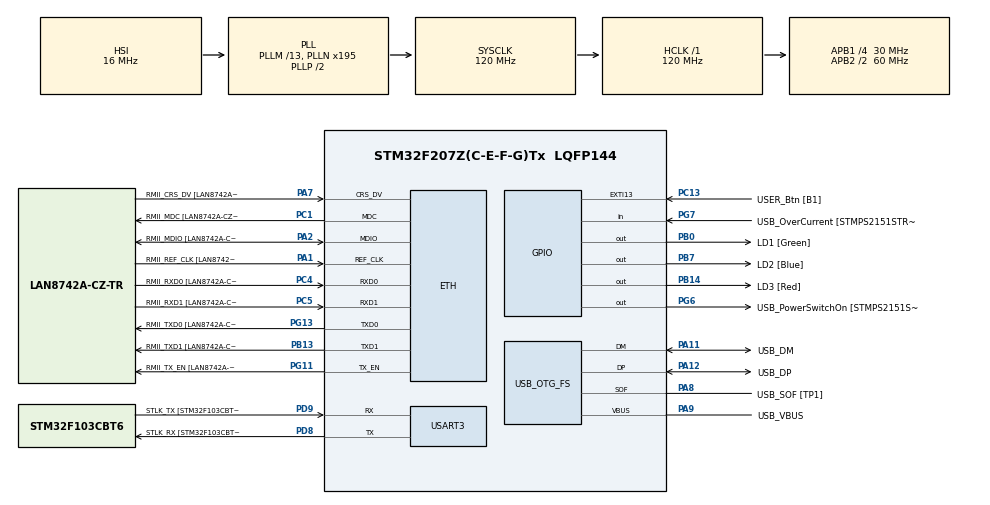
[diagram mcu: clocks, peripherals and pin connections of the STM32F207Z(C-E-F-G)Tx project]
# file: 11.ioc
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ETH.MediaInterface=ETH_MEDIA_INTERFACE_RMII
ETH.PHY_Name=LAN8742A_PHY_ADDRESS
ETH.PHY_Value=0
ETH.PhyAddress=0
FREERTOS.Tasks01=defaultTask,0,128,StartDefaultTask,Default,NULL,Dynamic,NULL,NULL
FREERTOS.configUSE_NEWLIB_REENTRANT=1
LWIP.CMSIS_VERSION-Enabled=1
LWIP.GATEWAY_ADDRESS=192.168.001.001
LWIP.IP_ADDRESS=192.168.001.005
LWIP.LWIP_AUTOIP=1
LWIP.LWIP_DHCP=0
LWIP.LWIP_DHCP_AUTOIP_COOP=0
LWIP.LWIP_DHCP_CHECK_LINK_UP=1
LWIP.LWIP_NETIF_HOSTNAME=0
LWIP.LWIP_NETIF_STATUS_CALLBACK=1
LWIP.LWIP_SOCKET=1
LWIP.LWIP_TCP=1
LWIP.LWIP_UDP=1
LWIP.NETMASK_ADDRESS=255.255.255.000
LWIP.RTOS_USE_NEWLIB_REENTRANT=1
LWIP.TCP_TTL=32
LWIP.Version=v2.0.3_Cube
Mcu.Family=STM32F2
Mcu.Name=STM32F207Z(C-E-F-G)Tx
Mcu.Package=LQFP144
NVIC.ETH_IRQn=true\:5\:0\:false\:false\:true\:true\:false\:true\:true
NVIC.EXTI15_10_IRQn=true\:5\:0\:false\:false\:true\:true\:true\:true\:true
NVIC.PriorityGroup=NVIC_PRIORITYGROUP_4
NVIC.TIM1_UP_TIM10_IRQn=true\:15\:0\:false\:false\:true\:false\:false\:true\:true
NVIC.TimeBase=TIM1_UP_TIM10_IRQn
NVIC.TimeBaseIP=TIM1
PA1.GPIO_Label=RMII_REF_CLK [LAN8742A-CZ-TR_REFCLK0]
PA1.Mode=RMII
PA1.Signal=ETH_REF_CLK
PA10.GPIO_Label=USB_ID
PA10.Signal=USB_OTG_FS_ID
PA11.GPIO_Label=USB_DM
PA11.Mode=Device_Only
PA11.Signal=USB_OTG_FS_DM
PA12.GPIO_Label=USB_DP
PA12.Mode=Device_Only
PA12.Signal=USB_OTG_FS_DP
PA13.GPIO_Label=TMS
PA13.Mode=Serial_Wire
PA13.Signal=SYS_JTMS-SWDIO
PA14.GPIO_Label=TCK
PA14.Mode=Serial_Wire
PA14.Signal=SYS_JTCK-SWCLK
PA2.GPIO_Label=RMII_MDIO [LAN8742A-CZ-TR_MDIO]
PA2.Mode=RMII
PA2.Signal=ETH_MDIO
PA7.GPIO_Label=RMII_CRS_DV [LAN8742A-CZ-TR_CRS_DV]
PA7.Mode=RMII
PA7.Signal=ETH_CRS_DV
PA8.GPIO_Label=USB_SOF [TP1]
PA8.Mode=Activate_SOF_FS
PA8.Signal=USB_OTG_FS_SOF
PA9.GPIO_Label=USB_VBUS
PA9.Mode=Activate_VBUS
PA9.Signal=USB_OTG_FS_VBUS
PB0.GPIO_Label=LD1 [Green]
PB0.Signal=GPIO_Output
PB13.GPIO_Label=RMII_TXD1 [LAN8742A-CZ-TR_TXD1]
PB13.Mode=RMII
PB13.Signal=ETH_TXD1
PB14.GPIO_Label=LD3 [Red]
PB14.Signal=GPIO_Output
PB3.GPIO_Label=SWO
PB3.Signal=SYS_JTDO-SWO
PB7.GPIO_Label=LD2 [Blue]
PB7.Signal=GPIO_Output
PC1.GPIO_Label=RMII_MDC [LAN8742A-CZ-TR_MDC]
PC1.Mode=RMII
PC1.Signal=ETH_MDC
PC13.GPIO_Label=USER_Btn [B1]
PC13.GPIO_ModeDefaultEXTI=GPIO_MODE_IT_RISING
PC13.Signal=GPXTI13
PC14-OSC32_IN.Mode=LSE-External-Clock-Source
PC14-OSC32_IN.Signal=RCC_OSC32_IN
PC15-OSC32_OUT.Mode=LSE-External-Clock-Source
PC15-OSC32_OUT.Signal=RCC_OSC32_OUT
PC4.GPIO_Label=RMII_RXD0 [LAN8742A-CZ-TR_RXD0]
PC4.Mode=RMII
PC4.Signal=ETH_RXD0
PC5.GPIO_Label=RMII_RXD1 [LAN8742A-CZ-TR_RXD1]
PC5.Mode=RMII
PC5.Signal=ETH_RXD1
PD8.GPIO_Label=STLK_RX [STM32F103CBT6_PA2]
PD8.Mode=Asynchronous
PD8.Signal=USART3_TX
PD9.GPIO_Label=STLK_TX [STM32F103CBT6_PA3]
PD9.Mode=Asynchronous
PD9.Signal=USART3_RX
PG11.GPIO_Label=RMII_TX_EN [LAN8742A-CZ-TR_TXEN]
PG11.Mode=RMII
PG11.Signal=ETH_TX_EN
PG13.GPIO_Label=RMII_TXD0 [LAN8742A-CZ-TR_TXD0]
PG13.Mode=RMII
PG13.Signal=ETH_TXD0
PG6.GPIO_Label=USB_PowerSwitchOn [STMPS2151STR_EN]
PG6.Signal=GPIO_Output
PG7.GPIO_Label=USB_OverCurrent [STMPS2151STR_FAULT]
PG7.Signal=GPIO_Input
PH0-OSC_IN.GPIO_Label=MCO [STM32F103CBT6_PA8]
PH0-OSC_IN.Mode=HSE-External-Oscillator
PH0-OSC_IN.Signal=RCC_OSC_IN
PH1-OSC_OUT.Mode=HSE-External-Oscillator
PH1-OSC_OUT.Signal=RCC_OSC_OUT
ProjectManager.HeapSize=0x200
ProjectManager.StackSize=0x400
ProjectManager.TargetToolchain=STM32CubeIDE
RCC.48MHZClocksFreq_Value=48000000
RCC.AHBFreq_Value=120000000
RCC.APB1CLKDivider=RCC_HCLK_DIV4
RCC.APB1Freq_Value=30000000
RCC.APB1TimFreq_Value=60000000
RCC.APB2CLKDivider=RCC_HCLK_DIV2
RCC.APB2Freq_Value=60000000
RCC.APB2TimFreq_Value=120000000
RCC.CortexFreq_Value=120000000
RCC.HCLKFreq_Value=120000000
RCC.HSE_VALUE=8000000
RCC.HSI_VALUE=16000000
RCC.PLLM=13
RCC.PLLMUL=RCC_PLL_MUL9
RCC.PLLN=195
RCC.PLLQ=5
RCC.PRESCALERUSB=RCC_USBCLKSOURCE_PLL_DIV1_5
RCC.SYSCLKFreq_VALUE=120000000
RCC.SYSCLKSource=RCC_SYSCLKSOURCE_PLLCLK
RCC.SYSCLKSourceVirtual=RCC_SYSCLKSOURCE_PLLCLK
RCC.USBFreq_Value=48000000
RCC.VCOOutputFreq_Value=240000000
USART3.VirtualMode=VM_ASYNC
USB_OTG_FS.VirtualMode=Device_Only
VP_FREERTOS_VS_CMSIS_V1.Mode=CMSIS_V1
VP_LWIP_VS_Enabled.Mode=Enabled
VP_SYS_VS_tim1.Mode=TIM1
board=NUCLEO-F207ZG

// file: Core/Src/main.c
/* USER CODE BEGIN Header */
/**
  ******************************************************************************
  * @file           : main.c
  * @brief          : Main program body
  ******************************************************************************
  * @attention
  *
  * Copyright (c) 2023 STMicroelectronics.
  * All rights reserved.
  *
  * This software is licensed under terms that can be found in the LICENSE file
  * in the root directory of this software component.
  * If no LICENSE file comes with this software, it is provided AS-IS.
  *
  ******************************************************************************
  */
/* USER CODE END Header */
#include "main.h"
#include "cmsis_os.h"
#include "lwip.h"

#include "lwip/sockets.h"
#include "lwip/inet.h"

/* USER CODE BEGIN PD */
#define SERVER_PORT 50000 // Настройка номера порта сервера

/* USER CODE END PD */

UART_HandleTypeDef huart3;

PCD_HandleTypeDef hpcd_USB_OTG_FS;

osThreadId defaultTaskHandle;
/* USER CODE BEGIN PV */
uint8_t data_buffer [100];
char tcp_server_recvbuf [300];
/* USER CODE END PV */

void SystemClock_Config(void);
static void MX_GPIO_Init(void);
static void MX_USART3_UART_Init(void);
static void MX_USB_OTG_FS_PCD_Init(void);
void StartDefaultTask(void const * argument);

/* USER CODE BEGIN 0 */
int message_process(char tcp_server_recvbuf[],int sock_conn);
static void server_thread (int sock_fd,int sock_conn,struct sockaddr_in server_addr,struct sockaddr_in conn_addr,socklen_t addr_len);
void tcp_serv_init (char trd_name[],int sock_fd,int sock_conn,struct sockaddr_in server_addr,struct sockaddr_in conn_addr,socklen_t addr_len);
void HAL_GPIO_EXTI_Callback(uint16_t GPIO_Pin);
/* USER CODE END 0 */

int main(void)
{

  /* MCU Configuration--------------------------------------------------------*/

  /* Reset of all peripherals, Initializes the Flash interface and the Systick. */
  HAL_Init();

  /* Configure the system clock */
  SystemClock_Config();

  /* Initialize all configured peripherals */
  MX_GPIO_Init();
  MX_USART3_UART_Init();
  MX_USB_OTG_FS_PCD_Init();

  /* Create the thread(s) */
  /* definition and creation of defaultTask */
  osThreadDef(defaultTask, StartDefaultTask, osPriorityNormal, 0, 128);
  defaultTaskHandle = osThreadCreate(osThread(defaultTask), NULL);

  /* Start scheduler */
  osKernelStart();
  /* We should never get here as control is now taken by the scheduler */
  /* Infinite loop */
  while (1)
  {

  }
}

void SystemClock_Config(void)
{
  RCC_OscInitTypeDef RCC_OscInitStruct = {0};
  RCC_ClkInitTypeDef RCC_ClkInitStruct = {0};

  /** Initializes the RCC Oscillators according to the specified parameters
  * in the RCC_OscInitTypeDef structure.
  */
  RCC_OscInitStruct.OscillatorType = RCC_OSCILLATORTYPE_HSI;
  RCC_OscInitStruct.HSIState = RCC_HSI_ON;
  RCC_OscInitStruct.HSICalibrationValue = RCC_HSICALIBRATION_DEFAULT;
  RCC_OscInitStruct.PLL.PLLState = RCC_PLL_ON;
  RCC_OscInitStruct.PLL.PLLSource = RCC_PLLSOURCE_HSI;
  RCC_OscInitStruct.PLL.PLLM = 13;
  RCC_OscInitStruct.PLL.PLLN = 195;
  RCC_OscInitStruct.PLL.PLLP = RCC_PLLP_DIV2;
  RCC_OscInitStruct.PLL.PLLQ = 5;
  if (HAL_RCC_OscConfig(&RCC_OscInitStruct) != HAL_OK)
  {
    Error_Handler();
  }

  /** Initializes the CPU, AHB and APB buses clocks
  */
  RCC_ClkInitStruct.ClockType = RCC_CLOCKTYPE_HCLK|RCC_CLOCKTYPE_SYSCLK
                              |RCC_CLOCKTYPE_PCLK1|RCC_CLOCKTYPE_PCLK2;
  RCC_ClkInitStruct.SYSCLKSource = RCC_SYSCLKSOURCE_PLLCLK;
  RCC_ClkInitStruct.AHBCLKDivider = RCC_SYSCLK_DIV1;
  RCC_ClkInitStruct.APB1CLKDivider = RCC_HCLK_DIV4;
  RCC_ClkInitStruct.APB2CLKDivider = RCC_HCLK_DIV2;

  if (HAL_RCC_ClockConfig(&RCC_ClkInitStruct, FLASH_LATENCY_3) != HAL_OK)
  {
    Error_Handler();
  }
}

static void MX_USART3_UART_Init(void)
{

  huart3.Instance = USART3;
  huart3.Init.BaudRate = 115200;
  huart3.Init.WordLength = UART_WORDLENGTH_8B;
  huart3.Init.StopBits = UART_STOPBITS_1;
  huart3.Init.Parity = UART_PARITY_NONE;
  huart3.Init.Mode = UART_MODE_TX_RX;
  huart3.Init.HwFlowCtl = UART_HWCONTROL_NONE;
  huart3.Init.OverSampling = UART_OVERSAMPLING_16;
  if (HAL_UART_Init(&huart3) != HAL_OK)
  {
    Error_Handler();
  }

}

static void MX_USB_OTG_FS_PCD_Init(void)
{

  hpcd_USB_OTG_FS.Instance = USB_OTG_FS;
  hpcd_USB_OTG_FS.Init.dev_endpoints = 4;
  hpcd_USB_OTG_FS.Init.speed = PCD_SPEED_FULL;
  hpcd_USB_OTG_FS.Init.dma_enable = DISABLE;
  hpcd_USB_OTG_FS.Init.phy_itface = PCD_PHY_EMBEDDED;
  hpcd_USB_OTG_FS.Init.Sof_enable = ENABLE;
  hpcd_USB_OTG_FS.Init.low_power_enable = DISABLE;
  hpcd_USB_OTG_FS.Init.vbus_sensing_enable = ENABLE;
  hpcd_USB_OTG_FS.Init.use_dedicated_ep1 = DISABLE;
  if (HAL_PCD_Init(&hpcd_USB_OTG_FS) != HAL_OK)
  {
    Error_Handler();
  }

}

static void MX_GPIO_Init(void)
{
  GPIO_InitTypeDef GPIO_InitStruct = {0};

  /* GPIO Ports Clock Enable */
  __HAL_RCC_GPIOC_CLK_ENABLE();
  __HAL_RCC_GPIOH_CLK_ENABLE();
  __HAL_RCC_GPIOA_CLK_ENABLE();
  __HAL_RCC_GPIOB_CLK_ENABLE();
  __HAL_RCC_GPIOD_CLK_ENABLE();
  __HAL_RCC_GPIOG_CLK_ENABLE();

  /*Configure GPIO pin Output Level */
  HAL_GPIO_WritePin(GPIOB, LD1_Pin|LD3_Pin|LD2_Pin, GPIO_PIN_RESET);

  /*Configure GPIO pin Output Level */
  HAL_GPIO_WritePin(USB_PowerSwitchOn_GPIO_Port, USB_PowerSwitchOn_Pin, GPIO_PIN_RESET);

  /*Configure GPIO pin : USER_Btn_Pin */
  GPIO_InitStruct.Pin = USER_Btn_Pin;
  GPIO_InitStruct.Mode = GPIO_MODE_IT_RISING;
  GPIO_InitStruct.Pull = GPIO_NOPULL;
  HAL_GPIO_Init(USER_Btn_GPIO_Port, &GPIO_InitStruct);

  /*Configure GPIO pins : LD1_Pin LD3_Pin LD2_Pin */
  GPIO_InitStruct.Pin = LD1_Pin|LD3_Pin|LD2_Pin;
  GPIO_InitStruct.Mode = GPIO_MODE_OUTPUT_PP;
  GPIO_InitStruct.Pull = GPIO_NOPULL;
  GPIO_InitStruct.Speed = GPIO_SPEED_FREQ_LOW;
  HAL_GPIO_Init(GPIOB, &GPIO_InitStruct);

  /*Configure GPIO pin : USB_PowerSwitchOn_Pin */
  GPIO_InitStruct.Pin = USB_PowerSwitchOn_Pin;
  GPIO_InitStruct.Mode = GPIO_MODE_OUTPUT_PP;
  GPIO_InitStruct.Pull = GPIO_NOPULL;
  GPIO_InitStruct.Speed = GPIO_SPEED_FREQ_LOW;
  HAL_GPIO_Init(USB_PowerSwitchOn_GPIO_Port, &GPIO_InitStruct);

  /*Configure GPIO pin : USB_OverCurrent_Pin */
  GPIO_InitStruct.Pin = USB_OverCurrent_Pin;
  GPIO_InitStruct.Mode = GPIO_MODE_INPUT;
  GPIO_InitStruct.Pull = GPIO_NOPULL;
  HAL_GPIO_Init(USB_OverCurrent_GPIO_Port, &GPIO_InitStruct);

  /* EXTI interrupt init*/
  HAL_NVIC_SetPriority(EXTI15_10_IRQn, 5, 0);
  HAL_NVIC_EnableIRQ(EXTI15_10_IRQn);

}

/* USER CODE BEGIN 4 */
/* обработка переключения состояния диода по кнопке добавлена для проверки функции отображения состояния светодиодов*/
void HAL_GPIO_EXTI_Callback(uint16_t GPIO_Pin){
	if(GPIO_Pin == USER_Btn_Pin){
		HAL_GPIO_TogglePin(GPIOB,LD3_Pin);
	}
	else{
		__NOP();
	}

}
int message_process(char tcp_server_recvbuf[],int sock_conn){// Переписать эту функцию по нормальному

			if(tcp_server_recvbuf[0] == 0){//TODO: исправить проверку сообщений
				send (sock_conn, "empty message \n ", strlen ("empty message \n"), 1);
				return 0;
			}
			else if(tcp_server_recvbuf[0]=='L' & tcp_server_recvbuf[1]=='E' & tcp_server_recvbuf[2]=='D' & tcp_server_recvbuf[3]=='2' & tcp_server_recvbuf[4]=='O' & tcp_server_recvbuf[5]=='F' & tcp_server_recvbuf[5]=='F')
			{
				HAL_GPIO_WritePin (GPIOB, LD2_Pin, GPIO_PIN_RESET);
				send (sock_conn, "LED2 выключен \n \r", strlen ("LED2 выключен \n \r"), 1);
				return 0;
		    }
			else if(tcp_server_recvbuf[0]=='L' & tcp_server_recvbuf[1]=='E' & tcp_server_recvbuf[2]=='D' & tcp_server_recvbuf[3]=='2' & tcp_server_recvbuf[4]=='O' & tcp_server_recvbuf[5]=='N')
			{
				HAL_GPIO_WritePin (GPIOB, LD2_Pin, GPIO_PIN_SET);
				send (sock_conn, "LED2 включен \n \r",  strlen("LED2 включен \n \r"),1);
				return 0;
			}
			else if(tcp_server_recvbuf[0]=='L' & tcp_server_recvbuf[1]=='E' & tcp_server_recvbuf[2]=='D' & tcp_server_recvbuf[3]=='3' & tcp_server_recvbuf[4]=='O' & tcp_server_recvbuf[5]=='F' & tcp_server_recvbuf[5]=='F')
			{
				HAL_GPIO_WritePin (GPIOB, LD3_Pin, GPIO_PIN_RESET);
				send (sock_conn, "LED3 выключен \n \r", strlen("LED3 выключен \n \r"), 1);
				return 0;
			}
			else if(tcp_server_recvbuf[0]=='L' & tcp_server_recvbuf[1]=='E'&tcp_server_recvbuf[2]=='D' & tcp_server_recvbuf[3]=='3'&tcp_server_recvbuf[4]=='O'&tcp_server_recvbuf[5]=='N')
			{
				HAL_GPIO_WritePin (GPIOB, LD3_Pin, GPIO_PIN_SET);
				send (sock_conn, "LED3 включен \n \r", strlen("LED3 включен \n \r"), 1);
				return 0;
			}
			else if(tcp_server_recvbuf[0] =='S' & tcp_server_recvbuf[1]=='T' & tcp_server_recvbuf[2]=='A' & tcp_server_recvbuf[3]=='T'){
				if(HAL_GPIO_ReadPin(GPIOB, LD2_Pin) == GPIO_PIN_SET & HAL_GPIO_ReadPin(GPIOB, LD3_Pin) ==GPIO_PIN_SET){
					send (sock_conn, "LED2 и LED3 включен \n \r", strlen("LED2 и LED3 включен \n \r"), 1);
				}
				if(HAL_GPIO_ReadPin(GPIOB, LD2_Pin) == GPIO_PIN_RESET & HAL_GPIO_ReadPin(GPIOB, LD3_Pin) ==GPIO_PIN_SET){
					send (sock_conn, "LED2 включен и LED3 включен \n \r", strlen("LED2 включен и LED3 включен \n \r"), 1);
				}
				if(HAL_GPIO_ReadPin(GPIOB, LD2_Pin) == GPIO_PIN_RESET & HAL_GPIO_ReadPin(GPIOB, LD3_Pin) ==GPIO_PIN_RESET){
					send (sock_conn, "LED2 и LED3 выключен \n \r", strlen ("LED2 и LED3 выключен \n \r"), 1);
				}
				if(HAL_GPIO_ReadPin(GPIOB, LD2_Pin) == GPIO_PIN_SET & HAL_GPIO_ReadPin(GPIOB, LD3_Pin) ==GPIO_PIN_RESET){
					send (sock_conn, "LED2 включен и LED3 выключен \n \r", strlen ("LED2 включен и LED3 выключен \n \r"), 1);
				}
				return 0;
			}
			else if(tcp_server_recvbuf[0] =='E' & tcp_server_recvbuf[1]=='X' & tcp_server_recvbuf[2]=='T'){
				closesocket(sock_conn);
				return 1;
			}
			else if(tcp_server_recvbuf[0] =='H' & tcp_server_recvbuf[1]=='E' & tcp_server_recvbuf[2]=='L' & tcp_server_recvbuf[3]=='P'){
				send (sock_conn, "--------------------- \n \r", strlen ("--------------------- \n \r"), 1);
				send (sock_conn, "LED2ON/LED3ON-команды включения светодиодов \n \r", strlen ("LED2ON/LED3ON-команды включения светодиодов \n \r"), 1);
				send (sock_conn, "LED2OFF/LED3OFF-команды выключения светодиодов \n \r", strlen ("LED2OFF/LED3OFF-команды выключения светодиодов \n \r"), 1);
				send (sock_conn, "STAT-команда для вывода состояния светодиодов \n \r", strlen ("STAT-команда для вывода состояния светодиодов \n \r"), 1);
				send (sock_conn, "EXT-завершить сеанс \n \r", strlen ("EXT-завершить сеанс \n \r"), 1);
				send (sock_conn, "--------------------- \n \r", strlen ("--------------------- \n \r"), 1);
				return 0;
			}
			return 0;
}

static void server_thread (int sock_fd,int sock_conn,struct sockaddr_in server_addr,struct sockaddr_in conn_addr,socklen_t addr_len)
{
	 int closed = 0;
	 int length;
	 int num;
	 while (1)//TODO:исправить, то что сервер читает escape последовательности
	 {
		memset (data_buffer, 0, sizeof (data_buffer)); // Очистить приемный буфер

		length = recv (sock_conn, (unsigned int *) data_buffer, 100, 0); // помещаем полученные данные в приемный буфер
        if(length == 0){
        	continue;
        }

		for (num = 0; num <100; num ++)
		{
			tcp_server_recvbuf[num]=data_buffer[num];
		}
		closed = message_process(tcp_server_recvbuf, sock_conn);

		/*
		else{
			send (sock_conn, "неправильная команда для вывод списка команд введите HELP \n \r", strlen ("неправильная команда для вывод списка команд введите HELP \n \r"), 1);
		}*/
	}
}

 void tcp_serv_init (char trd_name[],int sock_fd,int sock_conn,struct sockaddr_in server_addr,struct sockaddr_in conn_addr,socklen_t addr_len) // инициализация TCP-сервера
{
	sys_thread_new(trd_name,  server_thread, (sock_fd,sock_conn,server_addr,conn_addr,addr_len), DEFAULT_THREAD_STACKSIZE, DEFAULT_THREAD_PRIO - 1);
}

/* USER CODE END 4 */

void StartDefaultTask(void const * argument)
{
  /* init code for LWIP */
  MX_LWIP_Init();
  /* USER CODE BEGIN 5 */
  char *thread_head = "tcp_server_thread";
  char *trd_cnt = "0"; //модификатор названия создаваемого потока
  struct sockaddr_in server_addr; // адрес сервера
  struct sockaddr_in conn_addr; // адрес подключения
  int sock_fd; // Сервер подключения
  int sock_conn; // запрошенный socket
  int err;
  int num;
  socklen_t addr_len;

  int closed = 0; //флаг для проверки сокета клиента

  sock_fd = socket (AF_INET, SOCK_STREAM, IPPROTO_TCP); // установить новое соединение с сокетом
  memset (& server_addr, 0, sizeof (server_addr)); // Очистить адрес сервера
  server_addr.sin_family = AF_INET; // семейство адресов
  server_addr.sin_addr.s_addr = htonl (INADDR_ANY);
  server_addr.sin_port = htons (SERVER_PORT);

  err = bind (sock_fd, (struct sockaddr *) & server_addr, sizeof (server_addr));
  if (err <0) // Закрыть сокет, если привязка не удалась
  {
  		closesocket (sock_fd);
  }

  err = listen (sock_fd, 1); // прослушивание запросов на подключение
  if (err <0) // Закрыть сокет, если прослушивание не удалось
  {
  		closesocket (sock_fd);
  }
  addr_len = sizeof (struct sockaddr_in);
  /* Infinite loop */
  for(;;)
  {
	sock_conn = accept (sock_fd, (struct sockaddr *) & conn_addr, & addr_len);
	if(sock_conn == ERR_OK){
		send (sock_conn, "connect success! \n \r", 22, 0);
		char *res[strlen(thread_head)+strlen(trd_cnt)+1];
		strcpy(res,thread_head);
		strcat(res,trd_cnt);
		tcp_serv_init(res,sock_fd,sock_conn,server_addr,conn_addr,addr_len);
		trd_cnt[0] +=1;
		free(res);
	}
	else{
		closesocket(sock_conn);
	}
  }
  /* USER CODE END 5 */
}
void HAL_TIM_PeriodElapsedCallback(TIM_HandleTypeDef *htim)
{
  if (htim->Instance == TIM1) {
    HAL_IncTick();
  }
}

void Error_Handler(void)
{
  __disable_irq();
  while (1)
  {
  }
}
